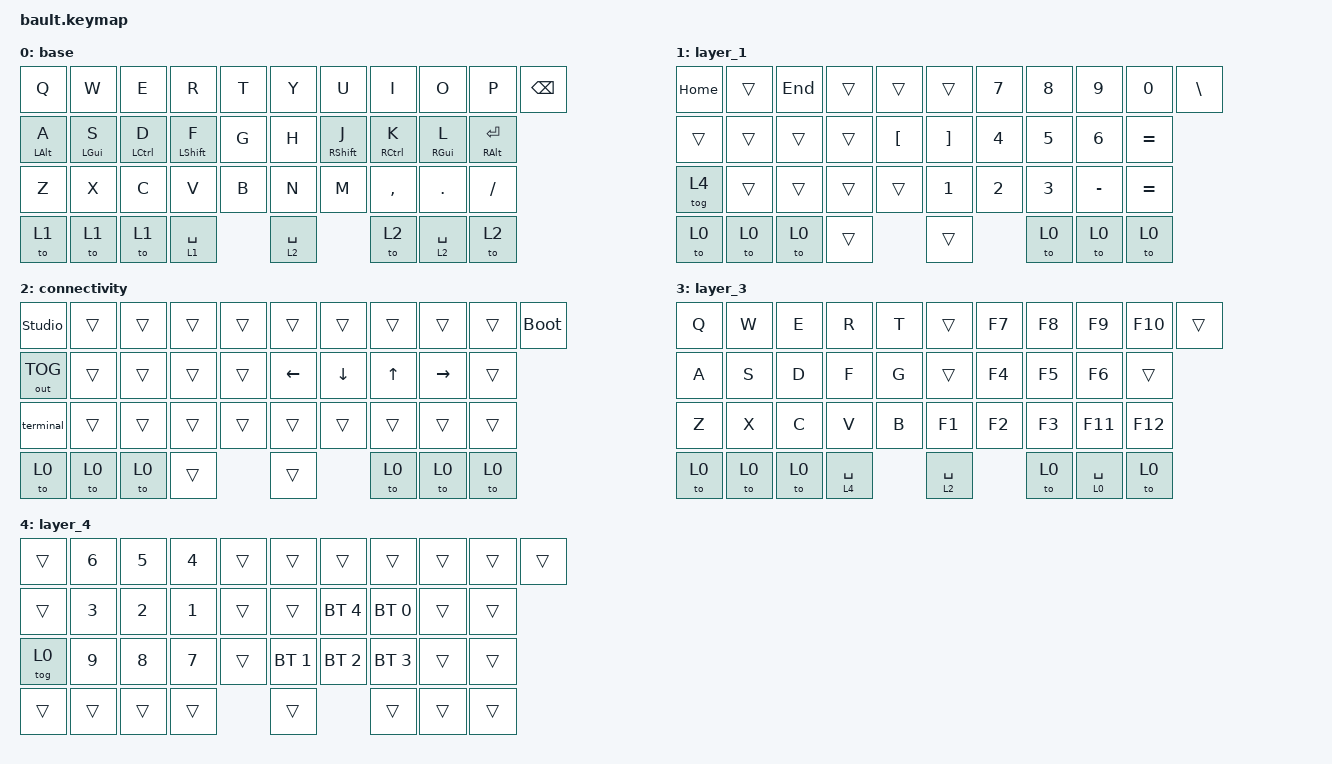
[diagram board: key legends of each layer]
#include <behaviors.dtsi>
#include <dt-bindings/zmk/bt.h>
#include <dt-bindings/zmk/keys.h>
#include <dt-bindings/zmk/outputs.h>

#define COMBO(NAME, BINDINGS, KEYPOS) \
  combo_##NAME { \
    timeout-ms = <50>; \
    bindings = <BINDINGS>; \
    key-positions = <KEYPOS>; \
    layers = <0>; \
  };

/ {
    behaviors {
        hm: homerow_mods {
            compatible = "zmk,behavior-hold-tap";
            display-name = "Homerow Mods";
            bindings = <&kp>, <&kp>;

            #binding-cells = <2>;
            tapping-term-ms = <200>;
            quick-tap-ms = <180>;
            require-prior-idle-ms = <0>;
            flavor = "tap-preferred";
        };
    };

    combos {
        compatible = "zmk,combos";

        combo_tab {
            timeout-ms = <50>;
            key-positions = <0 1>;
            bindings = <&kp TAB>;
        };

        combo_apos {
            bindings = <&kp APOS>;
            key-positions = <19 18>;
        };

        combo_semicolon {
            bindings = <&kp SEMI>;
            key-positions = <17 18>;
        };

        combo_esc {
            bindings = <&kp ESCAPE>;
            key-positions = <1 14>;
        };

        combo_lbrace {
            bindings = <&kp LEFT_BRACE>;
            key-positions = <12 14>;
        };

        combo_rbrace {
            bindings = <&kp RIGHT_BRACE>;
            key-positions = <13 14>;
        };

        studiounlock {
            bindings = <&studio_unlock>;
            key-positions = <0 10>;
        };

        combo_tilde {
            bindings = <&kp GRAVE>;
            key-positions = <1 2>;
        };

        combo_layer3 {
            bindings = <&mo 3>;
            key-positions = <21 30>;
        };
    };

    macros {
        terminal: terminal {
            compatible = "zmk,behavior-macro";
            #binding-cells = <0>;
            bindings = <&kp LCTRL &kp LSHFT &kp GRAVE>, <&macro_press>;

            label = "TERMINAL";
        };
    };

    keymap {
        compatible = "zmk,keymap";

        base {
            bindings = <
&kp Q           &kp W           &kp E        &kp R             &kp T  &kp Y        &kp U              &kp I        &kp O            &kp P                &kp BACKSPACE
&hm LEFT_ALT A  &hm LEFT_GUI S  &hm LCTRL D  &hm LEFT_SHIFT F  &kp G  &kp H        &hm RIGHT_SHIFT J  &hm RCTRL K  &hm RIGHT_GUI L  &hm RIGHT_ALT ENTER
&kp Z           &kp X           &kp C        &kp V             &kp B  &kp N        &kp M              &kp COMMA    &kp PERIOD       &kp SLASH
&to 1           &to 1           &to 1        &lt 1 SPACE              &lt 2 SPACE                     &to 2        &lt 2 SPACE      &to 2
            >;
        };

        layer_1 {
            bindings = <
&kp HOME  &trans  &kp END  &trans  &trans            &trans             &kp N7        &kp N8        &kp N9        &kp N0     &kp BACKSLASH
&trans    &trans  &trans   &trans  &kp LEFT_BRACKET  &kp RIGHT_BRACKET  &kp N4        &kp N5        &kp NUMBER_6  &kp EQUAL
&tog 4    &trans  &trans   &trans  &trans            &kp NUMBER_1       &kp NUMBER_2  &kp NUMBER_3  &kp MINUS     &kp EQUAL
&to 0     &to 0   &to 0    &trans                    &trans                           &to 0         &to 0         &to 0
            >;
        };

        connectivity {
            bindings = <
&studio_unlock  &trans  &trans  &trans  &trans  &trans          &trans          &trans        &trans           &trans  &bootloader
&out OUT_TOG    &trans  &trans  &trans  &trans  &kp LEFT_ARROW  &kp DOWN_ARROW  &kp UP_ARROW  &kp RIGHT_ARROW  &trans
&terminal       &trans  &trans  &trans  &trans  &trans          &trans          &trans        &trans           &trans
&to 0           &to 0   &to 0   &trans          &trans                          &to 0         &to 0            &to 0
            >;
        };

        layer_3 {
            bindings = <
&kp Q  &kp W  &kp E  &kp R        &kp T  &trans       &kp F7  &kp F8  &kp F9       &kp F10  &trans
&kp A  &kp S  &kp D  &kp F        &kp G  &trans       &kp F4  &kp F5  &kp F6       &trans
&kp Z  &kp X  &kp C  &kp V        &kp B  &kp F1       &kp F2  &kp F3  &kp F11      &kp F12
&to 0  &to 0  &to 0  &lt 4 SPACE         &lt 2 SPACE          &to 0   &lt 0 SPACE  &to 0
            >;
        };

        layer_4 {
            bindings = <
&trans  &kp NUMBER_6  &kp N5        &kp NUMBER_4  &trans  &trans        &trans        &trans        &trans  &trans  &trans
&trans  &kp NUMBER_3  &kp NUMBER_2  &kp NUMBER_1  &trans  &trans        &bt BT_SEL 4  &bt BT_SEL 0  &trans  &trans
&tog 0  &kp N9        &kp N8        &kp N7        &trans  &bt BT_SEL 1  &bt BT_SEL 2  &bt BT_SEL 3  &trans  &trans
&trans  &trans        &trans        &trans                &trans                      &trans        &trans  &trans
            >;
        };
    };
};
